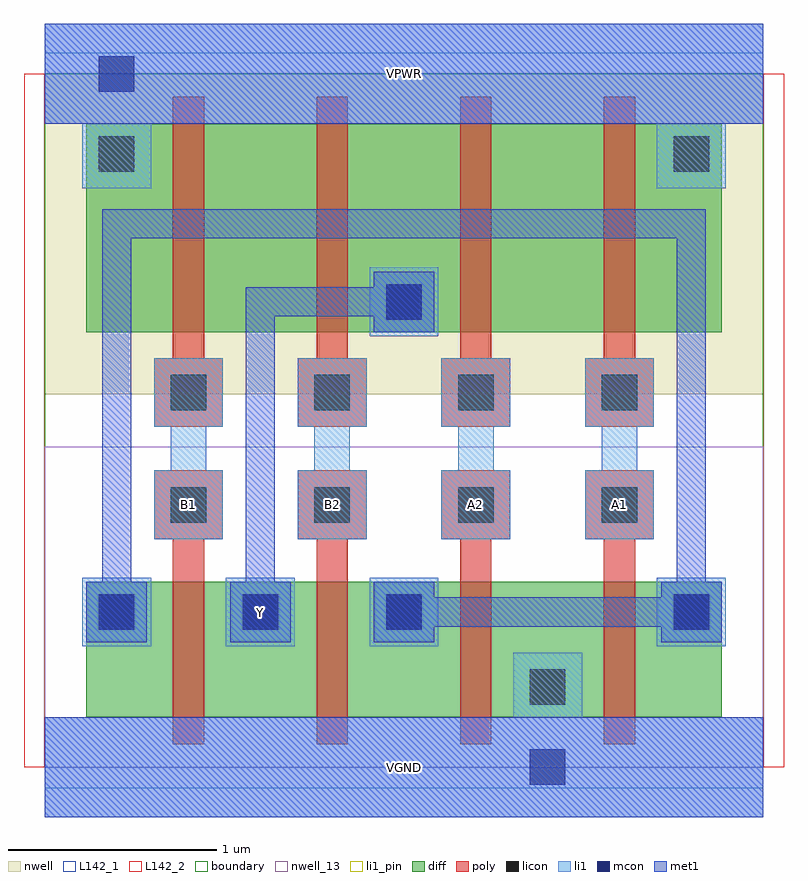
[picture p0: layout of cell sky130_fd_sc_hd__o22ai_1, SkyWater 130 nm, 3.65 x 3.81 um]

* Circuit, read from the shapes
.subckt sky130_fd_sc_hd__o22ai_1 A1 A2 B1 B2 VGND VPWR Y
XM1 Y B1 n1 VSUBS sky130_fd_pr__nfet_01v8 w=0.65 l=0.15
XM2 n1 B2 Y VSUBS sky130_fd_pr__nfet_01v8 w=0.65 l=0.15
XM3 VGND A2 n1 VSUBS sky130_fd_pr__nfet_01v8 w=0.65 l=0.15
XM4 n1 A1 VGND VSUBS sky130_fd_pr__nfet_01v8 w=0.65 l=0.15
XM5 n2 B1 VPWR n3 sky130_fd_pr__pfet_01v8 w=1 l=0.15
XM6 Y B2 n2 n3 sky130_fd_pr__pfet_01v8 w=1 l=0.15
XM7 n4 A2 Y n3 sky130_fd_pr__pfet_01v8 w=1 l=0.15
XM8 VPWR A1 n4 n3 sky130_fd_pr__pfet_01v8 w=1 l=0.15
.ends

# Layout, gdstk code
import gdstk
lib = gdstk.Library(unit=1e-6, precision=1e-09)
def R(c, l, rs):  # rectangles x0, y0, x1, y1
    for r in rs: c.add(gdstk.rectangle(r[:2], r[2:], *l))
def A(c, l, x, y, w, h, nx, ny, dx, dy):  # array of equal rectangles
    R(c, l, [(x+i*dx, y+j*dy, x+i*dx+w, y+j*dy+h) for i in range(nx) for j in range(ny)])
def P(c, l, *ps):  # polygons
    for p in ps: c.add(gdstk.Polygon(p, *l))
nwell_13 = (64, 13)
nwell = (64, 20)
diff = (65, 20)
poly = (66, 20)
licon = (66, 44)
li1_pin = (67, 16)
li1 = (67, 20)
mcon = (67, 44)
met1 = (68, 20)
L142_1 = (142, 1)
L142_2 = (142, 2)
boundary = (235, 4)

sky130_fd_sc_hd__o22ai_1 = lib.new_cell('sky130_fd_sc_hd__o22ai_1')
R(sky130_fd_sc_hd__o22ai_1, nwell_13, [(0,0,3.45,1.54)])
R(sky130_fd_sc_hd__o22ai_1, nwell, [(0,1.79,3.45,3.33)])
A(sky130_fd_sc_hd__o22ai_1, diff, 0.615, 0.24, 0.69, 0.65, 3, 1, 0.69, 0)
A(sky130_fd_sc_hd__o22ai_1, diff, 0.615, 2.09, 0.69, 1, 3, 1, 0.69, 0)
R(sky130_fd_sc_hd__o22ai_1, diff, [(0.2,0.24,3.25,0.89), (0.2,0.24,0.615,0.89), (2.685,0.24,3.25,0.89), (0.2,2.09,3.25,3.09), (0.2,2.09,0.615,3.09), (2.685,2.09,3.25,3.09)])
P(sky130_fd_sc_hd__o22ai_1, poly, [(1.305,0.11),(1.305,1.095),(1.215,1.095),(1.215,1.425),(1.545,1.425),(1.545,1.095),(1.455,1.095),(1.455,0.11)],
  [(1.215,1.635),(1.215,1.965),(1.305,1.965),(1.305,3.22),(1.455,3.22),(1.455,1.965),(1.545,1.965),(1.545,1.635)],
  [(1.995,0.11),(1.995,1.095),(1.905,1.095),(1.905,1.425),(2.235,1.425),(2.235,1.095),(2.145,1.095),(2.145,0.11)],
  [(1.905,1.635),(1.905,1.965),(1.995,1.965),(1.995,3.22),(2.145,3.22),(2.145,1.965),(2.235,1.965),(2.235,1.635)],
  [(2.685,0.11),(2.685,1.095),(2.595,1.095),(2.595,1.425),(2.925,1.425),(2.925,1.095),(2.835,1.095),(2.835,0.11)],
  [(2.595,1.635),(2.595,1.965),(2.685,1.965),(2.685,3.22),(2.835,3.22),(2.835,1.965),(2.925,1.965),(2.925,1.635)],
  [(0.615,0.11),(0.615,1.095),(0.525,1.095),(0.525,1.425),(0.855,1.425),(0.855,1.095),(0.765,1.095),(0.765,0.11)],
  [(0.525,1.635),(0.525,1.965),(0.615,1.965),(0.615,3.22),(0.765,3.22),(0.765,1.965),(0.855,1.965),(0.855,1.635)])
A(sky130_fd_sc_hd__o22ai_1, licon, 0.26, 0.66, 0.17, 0.17, 3, 1, 0.69, 0)
A(sky130_fd_sc_hd__o22ai_1, licon, 0.605, 1.175, 0.17, 0.17, 4, 2, 0.69, 0.54)
R(sky130_fd_sc_hd__o22ai_1, licon, [(2.33,0.3,2.5,0.47), (3.02,0.66,3.19,0.83), (1.64,2.15,1.81,2.32), (0.26,2.86,0.43,3.03), (3.02,2.86,3.19,3.03)])
R(sky130_fd_sc_hd__o22ai_1, li1_pin, [(0,-0.24,3.45,0.24), (0.87,0.58,1.2,0.91), (0,3.09,3.45,3.57)])
P(sky130_fd_sc_hd__o22ai_1, li1_pin, [(1.905,1.095),(1.905,1.425),(1.985,1.425),(1.985,1.635),(1.905,1.635),(1.905,1.965),(2.235,1.965),(2.235,1.635),(2.155,1.635),(2.155,1.425),(2.235,1.425),(2.235,1.095)],
  [(0.525,1.095),(0.525,1.425),(0.605,1.425),(0.605,1.635),(0.525,1.635),(0.525,1.965),(0.855,1.965),(0.855,1.635),(0.775,1.635),(0.775,1.425),(0.855,1.425),(0.855,1.095)],
  [(1.215,1.095),(1.215,1.425),(1.295,1.425),(1.295,1.635),(1.215,1.635),(1.215,1.965),(1.545,1.965),(1.545,1.635),(1.465,1.635),(1.465,1.425),(1.545,1.425),(1.545,1.095)],
  [(2.595,1.095),(2.595,1.425),(2.675,1.425),(2.675,1.635),(2.595,1.635),(2.595,1.965),(2.925,1.965),(2.925,1.635),(2.845,1.635),(2.845,1.425),(2.925,1.425),(2.925,1.095)])
A(sky130_fd_sc_hd__o22ai_1, li1, 0.18, 0.58, 0.33, 0.33, 3, 1, 0.69, 0)
R(sky130_fd_sc_hd__o22ai_1, li1, [(2.94,0.58,3.27,0.91), (1.56,2.07,1.89,2.4)])
P(sky130_fd_sc_hd__o22ai_1, li1, [(1.215,1.095),(1.215,1.425),(1.295,1.425),(1.295,1.635),(1.215,1.635),(1.215,1.965),(1.545,1.965),(1.545,1.635),(1.465,1.635),(1.465,1.425),(1.545,1.425),(1.545,1.095)],
  [(1.905,1.095),(1.905,1.425),(1.985,1.425),(1.985,1.635),(1.905,1.635),(1.905,1.965),(2.235,1.965),(2.235,1.635),(2.155,1.635),(2.155,1.425),(2.235,1.425),(2.235,1.095)],
  [(0.18,2.78),(0.18,3.09),(0,3.09),(0,3.57),(3.45,3.57),(3.45,3.09),(3.27,3.09),(3.27,2.78),(2.94,2.78),(2.94,3.09),(0.51,3.09),(0.51,2.78)],
  [(2.595,1.095),(2.595,1.425),(2.675,1.425),(2.675,1.635),(2.595,1.635),(2.595,1.965),(2.925,1.965),(2.925,1.635),(2.845,1.635),(2.845,1.425),(2.925,1.425),(2.925,1.095)],
  [(0,-0.24),(0,0.24),(2.25,0.24),(2.25,0.55),(2.58,0.55),(2.58,0.24),(3.45,0.24),(3.45,-0.24)],
  [(0.525,1.095),(0.525,1.425),(0.605,1.425),(0.605,1.635),(0.525,1.635),(0.525,1.965),(0.855,1.965),(0.855,1.635),(0.775,1.635),(0.775,1.425),(0.855,1.425),(0.855,1.095)])
A(sky130_fd_sc_hd__o22ai_1, mcon, 0.26, 0.66, 0.17, 0.17, 3, 1, 0.69, 0)
R(sky130_fd_sc_hd__o22ai_1, mcon, [(2.33,-0.085,2.5,0.085), (3.02,0.66,3.19,0.83), (1.64,2.15,1.81,2.32), (0.26,3.245,0.43,3.415)])
R(sky130_fd_sc_hd__o22ai_1, met1, [(0,-0.24,3.45,0.24), (0,3.09,3.45,3.57)])
P(sky130_fd_sc_hd__o22ai_1, met1, [(0.89,0.6),(0.89,0.89),(0.965,0.89),(0.965,2.305),(1.58,2.305),(1.58,2.38),(1.87,2.38),(1.87,2.09),(1.58,2.09),(1.58,2.165),(1.105,2.165),(1.105,0.89),(1.18,0.89),(1.18,0.6)],
  [(0.2,0.6),(0.2,0.89),(0.275,0.89),(0.275,2.68),(3.175,2.68),(3.175,0.89),(3.25,0.89),(3.25,0.6),(2.96,0.6),(2.96,0.675),(1.87,0.675),(1.87,0.6),(1.58,0.6),(1.58,0.89),(1.87,0.89),(1.87,0.815),(2.96,0.815),(2.96,0.89),(3.035,0.89),(3.035,2.54),(0.415,2.54),(0.415,0.89),(0.49,0.89),(0.49,0.6)])
R(sky130_fd_sc_hd__o22ai_1, L142_1, [(0,-0.1,3.45,0), (0,3.33,3.45,3.43)])
R(sky130_fd_sc_hd__o22ai_1, L142_2, [(-0.1,0,0,3.33), (3.45,0,3.55,3.33)])
R(sky130_fd_sc_hd__o22ai_1, boundary, [(0,0,3.45,3.33)])
sky130_fd_sc_hd__o22ai_1.add(gdstk.Label('Y', (1.035,0.745), layer=67, texttype=5))
sky130_fd_sc_hd__o22ai_1.add(gdstk.Label('A2', (2.07,1.26), layer=67, texttype=5))
sky130_fd_sc_hd__o22ai_1.add(gdstk.Label('B1', (0.69,1.26), layer=67, texttype=5))
sky130_fd_sc_hd__o22ai_1.add(gdstk.Label('B2', (1.38,1.26), layer=67, texttype=5))
sky130_fd_sc_hd__o22ai_1.add(gdstk.Label('A1', (2.76,1.26), layer=67, texttype=5))
sky130_fd_sc_hd__o22ai_1.add(gdstk.Label('VGND', (1.725,0), layer=67, texttype=5))
sky130_fd_sc_hd__o22ai_1.add(gdstk.Label('VPWR', (1.725,3.33), layer=67, texttype=5))
sky130_fd_sc_hd__o22ai_1.add(gdstk.Label('VGND', (1.725,0), layer=68, texttype=5))
sky130_fd_sc_hd__o22ai_1.add(gdstk.Label('VPWR', (1.725,3.33), layer=68, texttype=5))

lib.write_gds('sky130_fd_sc_hd__o22ai_1.gds')
